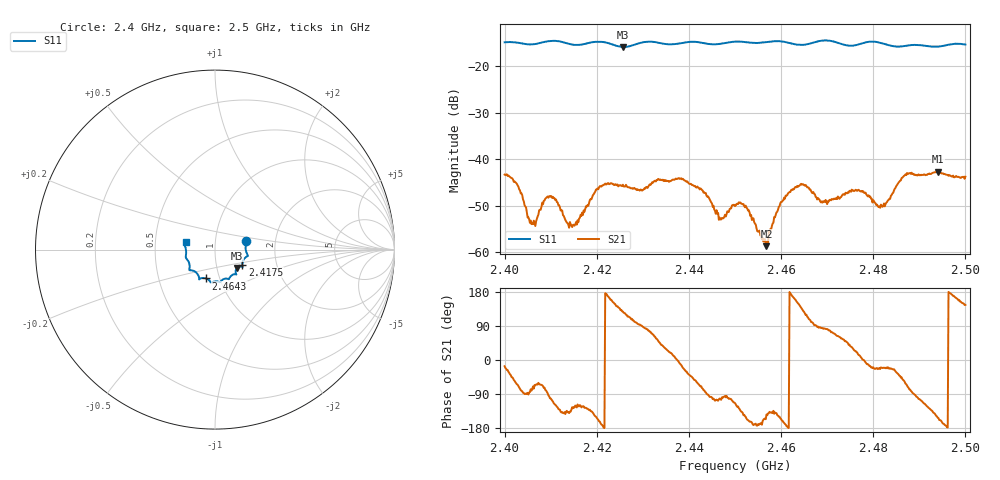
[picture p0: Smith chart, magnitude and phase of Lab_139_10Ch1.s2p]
# Hz S RI R 50
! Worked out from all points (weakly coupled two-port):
!   601 points, 2.4 GHz to 2.5 GHz, reference 50 ohm
!   highest |S21| = -42.70 dB at 2.494 GHz (marker M1); lowest = -58.7 dB at 2.4568 GHz (marker M2)
!   lowest |S11| = -15.9 dB at 2.4257 GHz (marker M3), VSWR 1.38, Z = 62.5 - j13.1 ohm
!   |S11| at or under -10 dB: start of sweep to end of sweep
!   S12 and S22 are empty: the file has one direction only
!   S11 on the Smith chart (normalised r, x): 2.4 GHz: 1.41, +0.14; 2.4175 GHz: 1.34, -0.23; 2.4643 GHz: 0.86, -0.29; 2.5 GHz: 0.72, +0.06
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2.4e9  0.1728 0.0486  0.00655 -0.00193  0 0  0 0
2.402833e9  0.1742 0.0353  0.00217 -0.00475  0 0  0 0
2.406167e9  0.1709 -3.59e-05  0.000692 -0.00188  0 0  0 0
2.409667e9  0.1823 -0.0318  -0.000392 -0.00398  0 0  0 0
2.414167e9  0.1651 -0.0482  -0.00152 -0.00146  0 0  0 0
2.416667e9  0.1528 -0.074  -0.00141 -0.00201  0 0  0 0
2.4175e9  0.1519 -0.0833  -0.00172 -0.00237  0 0  0 0
2.421e9  0.1537 -0.0969  -0.005 -0.000863  0 0  0 0
2.425667e9  0.1229 -0.102  -0.00327 0.00419  0 0  0 0
2.433333e9  0.1132 -0.1372  0.0039 0.00474  0 0  0 0
2.442333e9  0.073 -0.1637  0.00181 -0.00438  0 0  0 0
2.447e9  0.0404 -0.1688  -0.000582 -0.00218  0 0  0 0
2.45e9  0.0287 -0.1807  -0.00127 -0.00286  0 0  0 0
2.452167e9  0.0219 -0.1796  -0.00259 -0.00161  0 0  0 0
2.456833e9  -0.0124 -0.1802  -0.00094 -0.000686  0 0  0 0
2.460167e9  -0.0247 -0.1819  -0.00327 -0.00119  0 0  0 0
2.464333e9  -0.05 -0.1609  -0.00402 0.00366  0 0  0 0
2.466667e9  -0.0759 -0.1593  -0.000764 0.00431  0 0  0 0
2.483333e9  -0.1411 -0.0902  0.00338 -0.00138  0 0  0 0
2.487167e9  -0.156 -0.0544  0.00296 -0.00606  0 0  0 0
2.494e9  -0.1618 -0.00218  -0.00649 -0.0034  0 0  0 0
2.5e9  -0.1642 0.0433  -0.00535 0.00368  0 0  0 0
